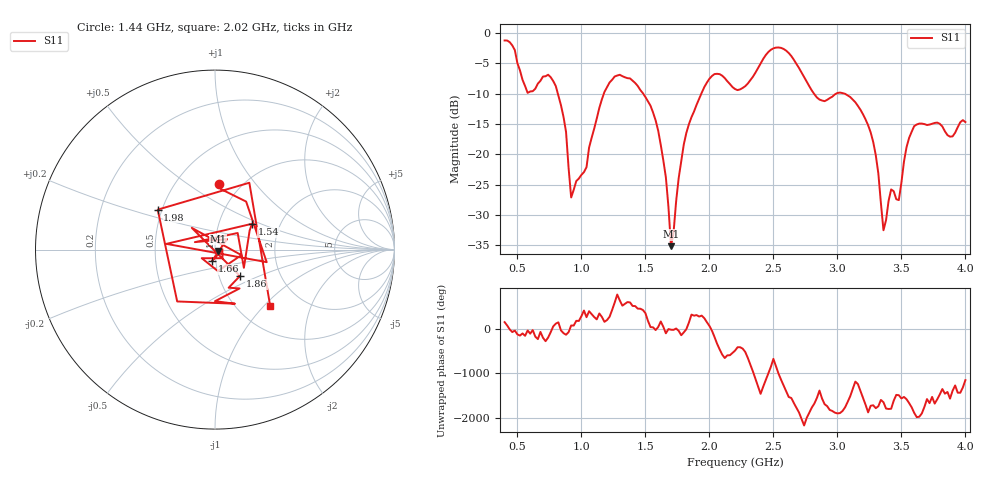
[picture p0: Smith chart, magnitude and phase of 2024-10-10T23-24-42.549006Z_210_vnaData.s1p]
! Created with skrf (http://scikit-rf.org).
# Hz S RI R 50.0
!freq ReS11 ImS11
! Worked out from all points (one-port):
!   181 points, 400 MHz to 4 GHz, reference 50 ohm
!   lowest |S11| = -35.1 dB at 1.7 GHz (marker M1), VSWR 1.04, Z = 51.6 - j0.734 ohm
!   |S11| at or under -10 dB: 815.5 MHz to 1.175 GHz (360 MHz wide, 36.2 % of centre); 1.482 GHz to 1.937 GHz (454.7 MHz wide, 26.6 % of centre); 3.054 GHz to end of sweep (the widest 3 of 4)
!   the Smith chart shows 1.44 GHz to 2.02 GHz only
!   S11 on the Smith chart (normalised r, x): 1.44 GHz: 0.80, +0.67; 1.54 GHz: 1.44, +0.44; 1.66 GHz: 0.96, -0.12; 1.86 GHz: 1.26, -0.39; 1.98 GHz: 0.47, +0.25; 2.02 GHz: 1.39, -1.09
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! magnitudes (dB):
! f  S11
! 400 MHz  -1.3
! 480 MHz  -2.8
! 580 MHz  -9.9
! 760 MHz  -7.3
! 860 MHz  -13.8
! 920 MHz  -27.1
! 1.04 GHz  -22.1
! 1.18 GHz  -9.7
! 1.3 GHz  -6.9
! 1.44 GHz  -8.7
! 1.54 GHz  -12.0
! 1.66 GHz  -23.8
! 1.7 GHz  -35.1
! 1.76 GHz  -23.9
! 1.86 GHz  -13.9
! 1.98 GHz  -8.2
! 2.02 GHz  -7.1
! 2.2 GHz  -9.2
! 2.5 GHz  -2.6
! 2.66 GHz  -4.4
! 2.86 GHz  -11.0
! 3.1 GHz  -10.6
! 3.28 GHz  -18.0
! 3.36 GHz  -32.5
! 3.42 GHz  -25.8
! 3.48 GHz  -27.5
! 3.56 GHz  -17.3
! 4 GHz  -14.7
